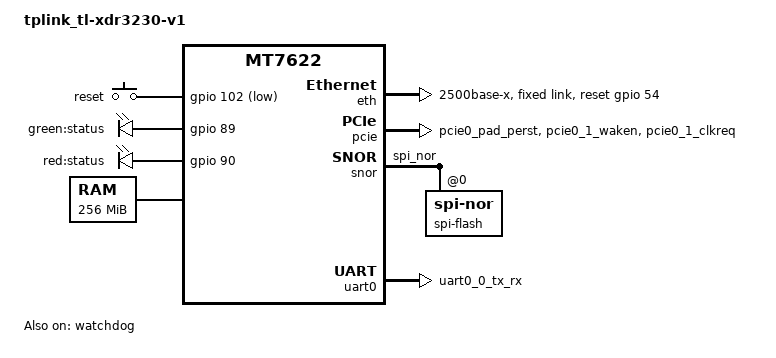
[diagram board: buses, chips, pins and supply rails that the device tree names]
// SPDX-License-Identifier: GPL-2.0
/*
 * Copyright (c) 2019 MediaTek Inc.
 * Author: Sam Shih <sam.shih@mediatek.com>
 */

/dts-v1/;
#include "mt7622.dtsi"
#include "mt7622-u-boot.dtsi"
#include <dt-bindings/input/linux-event-codes.h>

/ {
	#address-cells = <1>;
	#size-cells = <1>;
	model = "tplink_tl-xdr3230-v1";
	compatible = "mediatek,mt7622", "mediatek,mt7622-rfb";

	aliases {
		spi0 = &snor;
	};

	chosen {
		stdout-path = &uart0;
		tick-timer = &timer0;
	};

	config {
		bootcmd = "mtkboardboot";
		blink_led = "green:status";
		system_led = "red:status";
	};

	gpio-keys {
		compatible = "gpio-keys";
		#address-cells = <1>;
		#size-cells = <0>;

		/*
		 * It's actually wps button. The real reset button on
		 * board seems not to be connected to any GPIO.
		 */
		button-reset {
			label = "reset";
			gpios = <&gpio 102 GPIO_ACTIVE_LOW>;
			linux,code = <KEY_RESTART>;
		};
	};

	gpio-leds {
		compatible = "gpio-leds";

		green_status_led: led-0 {
			label = "green:status";
			gpios = <&gpio 89 GPIO_ACTIVE_HIGH>;
		};

		red_status_led: led-1 {
			label = "red:status";
			gpios = <&gpio 90 GPIO_ACTIVE_HIGH>;
		};
	};

	memory@40000000 {
		device_type = "memory";
		reg = <0x40000000 0x10000000>;
	};

	bl2_verify {
		bl2_compatible = "spim-nor";
	};
};

&eth {
	status = "okay";
	mediatek,gmac-id = <0>;
	phy-mode = "2500base-x";
	mediatek,switch = "rtl8367c";
	reset-gpios = <&gpio 54 GPIO_ACTIVE_HIGH>;

	fixed-link {
		speed = <2500>;
		full-duplex;
	};
};

&pcie {
	pinctrl-names = "default";
	pinctrl-0 = <&pcie0_pins>;
	status = "okay";

	pcie@0,0 {
		status = "okay";
	};
};

&pinctrl {
	eth_pins: eth-pins {
		mux {
			function = "eth";
			groups = "mdc_mdio", "rgmii_via_gmac2";
		};
	};

	pcie0_pins: pcie0-pins {
		mux {
			function = "pcie";
			groups = "pcie0_pad_perst",
				 "pcie0_1_waken",
				 "pcie0_1_clkreq";
		};
	};

	snor_pins: snor-pins {
		mux {
			function = "flash";
			groups = "spi_nor";
		};
	};

	uart0_pins: uart0 {
		mux {
			function = "uart";
			groups = "uart0_0_tx_rx" ;
		};
	};

	watchdog_pins: watchdog-default {
		mux {
			function = "watchdog";
			groups = "watchdog";
		};
	};
};

&snor {
	pinctrl-names = "default";
	pinctrl-0 = <&snor_pins>;
	status = "okay";

	spi-flash@0 {
		compatible = "jedec,spi-nor";
		reg = <0>;
		spi-tx-bus-width = <4>;
		spi-rx-bus-width = <4>;
	};
};

&uart0 {
	pinctrl-names = "default";
	pinctrl-0 = <&uart0_pins>;
	mediatek,force-highspeed;
	status = "okay";
};

&watchdog {
	pinctrl-names = "default";
	pinctrl-0 = <&watchdog_pins>;
	status = "okay";
};
